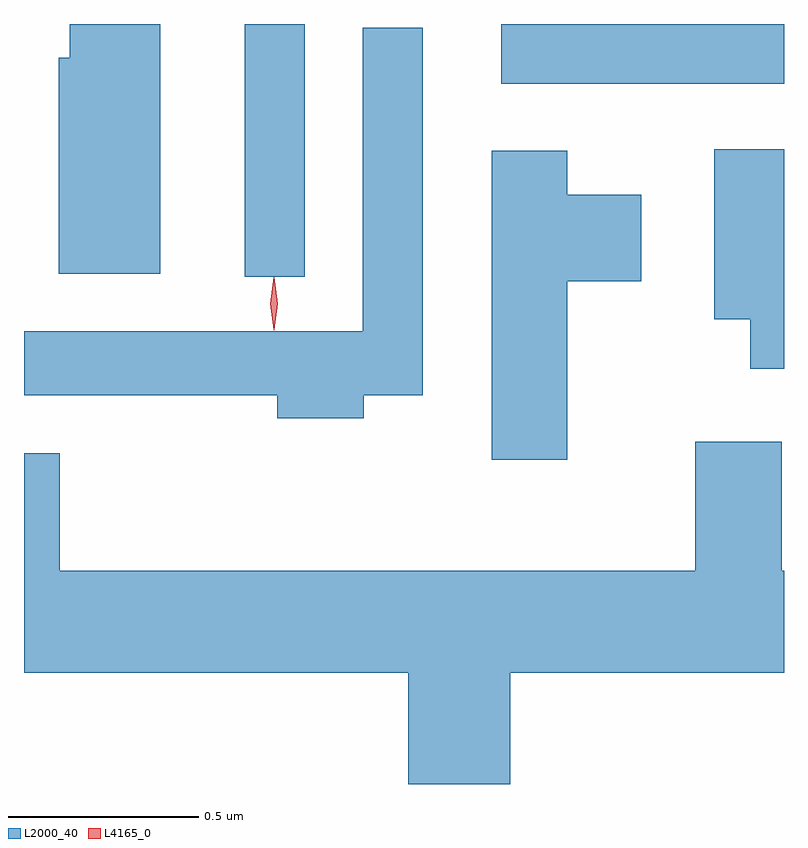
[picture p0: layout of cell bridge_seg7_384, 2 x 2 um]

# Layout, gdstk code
import gdstk
lib = gdstk.Library(unit=1e-6, precision=1e-09)
def R(c, l, rs):  # rectangles x0, y0, x1, y1
    for r in rs: c.add(gdstk.rectangle(r[:2], r[2:], *l))
def P(c, l, *ps):  # polygons
    for p in ps: c.add(gdstk.Polygon(p, *l))
L2000_40 = (2000, 40)
L4165_0 = (4165, 0)

bridge_seg7_384 = lib.new_cell('bridge_seg7_384')
R(bridge_seg7_384, L2000_40, [(1113.746,1744.218,1113.904,1744.883), (1114.421,1744.726,1115.165,1744.883)])
P(bridge_seg7_384, L2000_40, [(1113.524,1744.883),(1113.286,1744.883),(1113.286,1744.794),(1113.256,1744.794),(1113.256,1744.226),(1113.524,1744.226)],
  [(1114.059,1743.906),(1114.214,1743.906),(1114.214,1744.873),(1114.056,1744.873),(1114.056,1744.074),(1113.165,1744.074),(1113.165,1743.906),(1113.831,1743.906),(1113.831,1743.846),(1114.059,1743.846)],
  [(1115.165,1744.554),(1114.981,1744.554),(1114.981,1744.106),(1115.076,1744.106),(1115.076,1743.976),(1115.165,1743.976)],
  [(1114.594,1744.206),(1114.789,1744.206),(1114.789,1744.434),(1114.594,1744.434),(1114.594,1744.549),(1114.396,1744.549),(1114.396,1743.736),(1114.594,1743.736)],
  [(1114.444,1743.176),(1115.165,1743.176),(1115.165,1743.444),(1115.159,1743.444),(1115.159,1743.784),(1114.931,1743.784),(1114.931,1743.444),(1113.259,1743.444),(1113.259,1743.754),(1113.165,1743.754),(1113.165,1743.176),(1114.176,1743.176),(1114.176,1742.883),(1114.444,1742.883)])
P(bridge_seg7_384, L4165_0, [(1113.823,1744.077),(1113.822,1744.078),(1113.813,1744.147),(1113.822,1744.216),(1113.823,1744.216),(1113.823,1744.216),(1113.833,1744.147),(1113.823,1744.078)])

lib.write_gds('bridge_seg7_384.gds')
